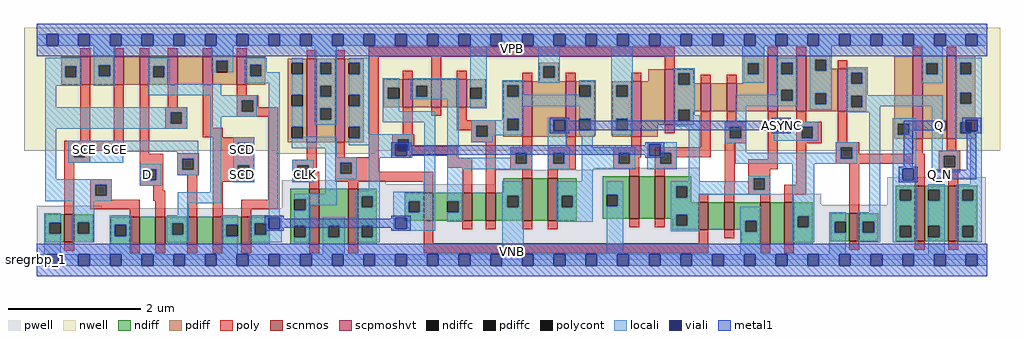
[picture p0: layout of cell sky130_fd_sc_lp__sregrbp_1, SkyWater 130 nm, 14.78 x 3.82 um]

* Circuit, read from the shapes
.subckt sky130_fd_sc_lp__sregrbp_1 ASYNC CLK D SCD SCE VGND VNB VPB VPWR Q Q_N
XM1 n1 SCE VGND VNB sky130_fd_pr__nfet_01v8 w=0.42 l=0.15
XM2 n2 n1 VGND VNB sky130_fd_pr__nfet_01v8 w=0.42 l=0.15
XM3 n3 D n2 VNB sky130_fd_pr__nfet_01v8 w=0.42 l=0.15
XM4 n4 SCE n3 VNB sky130_fd_pr__nfet_01v8 w=0.42 l=0.15
XM5 VGND SCD n4 VNB sky130_fd_pr__nfet_01v8 w=0.42 l=0.15
XM6 n5 n3 VGND VNB sky130_fd_pr__nfet_01v8 w=0.42 l=0.15
XM7 VGND CLK n6 VNB sky130_fd_pr__nfet_01v8 w=0.84 l=0.15
XM8 n7 n6 VGND VNB sky130_fd_pr__nfet_01v8 w=0.84 l=0.15
XM9 n8 n6 n5 VNB sky130_fd_pr__nfet_01v8 w=0.42 l=0.15
XM10 n9 n7 n8 VNB sky130_fd_pr__nfet_01v8 w=0.42 l=0.15
XM11 VGND n10 n9 VNB sky130_fd_pr__nfet_01v8 w=0.42 l=0.15
XM12 n11 n8 VGND VNB sky130_fd_pr__nfet_01v8 w=0.64 l=0.15
XM13 n10 ASYNC n11 VNB sky130_fd_pr__nfet_01v8 w=0.64 l=0.15
XM14 n12 n10 VGND VNB sky130_fd_pr__nfet_01v8 w=0.64 l=0.15
XM15 n13 n7 n12 VNB sky130_fd_pr__nfet_01v8 w=0.64 l=0.15
XM16 n14 n6 n13 VNB sky130_fd_pr__nfet_01v8 w=0.42 l=0.15
XM17 VGND n15 n14 VNB sky130_fd_pr__nfet_01v8 w=0.42 l=0.15
XM18 n16 n13 VGND VNB sky130_fd_pr__nfet_01v8 w=0.64 l=0.15
XM19 n15 ASYNC n16 VNB sky130_fd_pr__nfet_01v8 w=0.64 l=0.15
XM20 n17 n15 VGND VNB sky130_fd_pr__nfet_01v8 w=0.42 l=0.15
XM21 VGND n15 Q VNB sky130_fd_pr__nfet_01v8 w=0.84 l=0.15
XM22 Q_N n17 VGND VNB sky130_fd_pr__nfet_01v8 w=0.84 l=0.15
XM23 VPWR SCE n1 VPB sky130_fd_pr__pfet_01v8_hvt w=0.42 l=0.15
XM24 n18 SCE VPWR VPB sky130_fd_pr__pfet_01v8_hvt w=0.42 l=0.15
XM25 n3 D n18 VPB sky130_fd_pr__pfet_01v8_hvt w=0.42 l=0.15
XM26 n19 n1 n3 VPB sky130_fd_pr__pfet_01v8_hvt w=0.42 l=0.15
XM27 VPWR SCD n19 VPB sky130_fd_pr__pfet_01v8_hvt w=0.42 l=0.15
XM28 n5 n3 VPWR VPB sky130_fd_pr__pfet_01v8_hvt w=0.42 l=0.15
XM29 VPWR CLK n6 VPB sky130_fd_pr__pfet_01v8_hvt w=1.26 l=0.15
XM30 n7 n6 VPWR VPB sky130_fd_pr__pfet_01v8_hvt w=1.26 l=0.15
XM31 n8 n7 n5 VPB sky130_fd_pr__pfet_01v8_hvt w=0.42 l=0.15
XM32 n20 n6 n8 VPB sky130_fd_pr__pfet_01v8_hvt w=0.42 l=0.15
XM33 VPWR n10 n20 VPB sky130_fd_pr__pfet_01v8_hvt w=0.42 l=0.15
XM34 VPWR n8 n10 VPB sky130_fd_pr__pfet_01v8_hvt w=0.84 l=0.15
XM35 n10 ASYNC VPWR VPB sky130_fd_pr__pfet_01v8_hvt w=0.84 l=0.15
XM36 n21 n10 VPWR VPB sky130_fd_pr__pfet_01v8_hvt w=0.84 l=0.15
XM37 n13 n6 n21 VPB sky130_fd_pr__pfet_01v8_hvt w=0.84 l=0.15
XM38 n22 n7 n13 VPB sky130_fd_pr__pfet_01v8_hvt w=0.42 l=0.15
XM39 VPWR n15 n22 VPB sky130_fd_pr__pfet_01v8_hvt w=0.42 l=0.15
XM40 n15 n13 VPWR VPB sky130_fd_pr__pfet_01v8_hvt w=0.84 l=0.15
XM41 VPWR ASYNC n15 VPB sky130_fd_pr__pfet_01v8_hvt w=0.84 l=0.15
XM42 n17 n15 VPWR VPB sky130_fd_pr__pfet_01v8_hvt w=0.64 l=0.15
XM43 VPWR n15 Q VPB sky130_fd_pr__pfet_01v8_hvt w=1.26 l=0.15
XM44 Q_N n17 VPWR VPB sky130_fd_pr__pfet_01v8_hvt w=1.26 l=0.15
.ends

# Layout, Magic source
magic
tech sky130A
magscale 1 2
<< nwell >>
rect -38 331 2918 704
rect 725 321 1027 331
<< pwell >>
rect 1689 273 2009 279
rect 743 229 1057 241
rect 1388 229 2009 273
rect 743 201 2009 229
rect 743 167 2377 201
rect 2577 167 2875 251
rect 1 157 197 164
rect 743 157 2875 167
rect 1 49 2875 157
rect 0 0 2880 49
<< scnmos >>
rect 84 54 114 138
rect 282 47 312 131
rect 360 47 390 131
rect 456 47 486 131
rect 534 47 564 131
rect 620 47 650 131
rect 826 47 856 215
rect 944 47 974 215
rect 1172 119 1202 203
rect 1289 119 1319 203
rect 1361 119 1391 203
rect 1471 119 1501 247
rect 1549 119 1579 247
rect 1795 125 1825 253
rect 1873 125 1903 253
rect 2005 91 2035 175
rect 2083 91 2113 175
rect 2192 47 2222 175
rect 2264 47 2294 175
rect 2462 57 2492 141
rect 2660 57 2690 225
rect 2762 57 2792 225
<< scpmoshvt >>
rect 132 531 162 615
rect 234 531 264 615
rect 312 531 342 615
rect 398 531 428 615
rect 504 531 534 615
rect 606 531 636 615
rect 818 357 848 609
rect 904 357 934 609
rect 1109 463 1139 547
rect 1195 463 1225 547
rect 1273 463 1303 547
rect 1471 373 1501 541
rect 1603 373 1633 541
rect 1801 373 1831 541
rect 1903 409 1933 577
rect 2012 451 2042 535
rect 2090 451 2120 535
rect 2215 451 2245 619
rect 2301 451 2331 619
rect 2426 451 2456 579
rect 2654 367 2684 619
rect 2756 367 2786 619
<< ndiff >>
rect 27 113 84 138
rect 27 79 39 113
rect 73 79 84 113
rect 27 54 84 79
rect 114 114 171 138
rect 769 184 826 215
rect 769 150 781 184
rect 815 150 826 184
rect 114 80 125 114
rect 159 80 171 114
rect 114 54 171 80
rect 225 106 282 131
rect 225 72 237 106
rect 271 72 282 106
rect 225 47 282 72
rect 312 47 360 131
rect 390 111 456 131
rect 390 77 411 111
rect 445 77 456 111
rect 390 47 456 77
rect 486 47 534 131
rect 564 106 620 131
rect 564 72 575 106
rect 609 72 620 106
rect 564 47 620 72
rect 650 111 707 131
rect 650 77 661 111
rect 695 77 707 111
rect 650 47 707 77
rect 769 103 826 150
rect 769 69 781 103
rect 815 69 826 103
rect 769 47 826 69
rect 856 103 944 215
rect 856 69 883 103
rect 917 69 944 103
rect 856 47 944 69
rect 974 193 1031 215
rect 1414 203 1471 247
rect 974 159 985 193
rect 1019 159 1031 193
rect 974 103 1031 159
rect 1115 178 1172 203
rect 1115 144 1127 178
rect 1161 144 1172 178
rect 1115 119 1172 144
rect 1202 178 1289 203
rect 1202 144 1244 178
rect 1278 144 1289 178
rect 1202 119 1289 144
rect 1319 119 1361 203
rect 1391 194 1471 203
rect 1391 160 1426 194
rect 1460 160 1471 194
rect 1391 119 1471 160
rect 1501 119 1549 247
rect 1579 194 1636 247
rect 1579 160 1590 194
rect 1624 160 1636 194
rect 1579 119 1636 160
rect 1715 197 1795 253
rect 1715 163 1727 197
rect 1761 163 1795 197
rect 1715 125 1795 163
rect 1825 125 1873 253
rect 1903 223 1983 253
rect 1903 189 1937 223
rect 1971 189 1983 223
rect 1903 175 1983 189
rect 1903 137 2005 175
rect 1903 125 1937 137
rect 974 69 985 103
rect 1019 69 1031 103
rect 974 47 1031 69
rect 1925 103 1937 125
rect 1971 103 2005 137
rect 1925 91 2005 103
rect 2035 91 2083 175
rect 2113 119 2192 175
rect 2113 91 2147 119
rect 2135 85 2147 91
rect 2181 85 2192 119
rect 2135 47 2192 85
rect 2222 47 2264 175
rect 2294 133 2351 175
rect 2603 213 2660 225
rect 2603 179 2615 213
rect 2649 179 2660 213
rect 2294 99 2305 133
rect 2339 99 2351 133
rect 2294 47 2351 99
rect 2405 116 2462 141
rect 2405 82 2417 116
rect 2451 82 2462 116
rect 2405 57 2462 82
rect 2492 116 2549 141
rect 2492 82 2503 116
rect 2537 82 2549 116
rect 2492 57 2549 82
rect 2603 103 2660 179
rect 2603 69 2615 103
rect 2649 69 2660 103
rect 2603 57 2660 69
rect 2690 213 2762 225
rect 2690 179 2701 213
rect 2735 179 2762 213
rect 2690 103 2762 179
rect 2690 69 2701 103
rect 2735 69 2762 103
rect 2690 57 2762 69
rect 2792 213 2849 225
rect 2792 179 2803 213
rect 2837 179 2849 213
rect 2792 103 2849 179
rect 2792 69 2803 103
rect 2837 69 2849 103
rect 2792 57 2849 69
<< pdiff >>
rect 75 587 132 615
rect 75 553 87 587
rect 121 553 132 587
rect 75 531 132 553
rect 162 590 234 615
rect 162 556 189 590
rect 223 556 234 590
rect 162 531 234 556
rect 264 531 312 615
rect 342 587 398 615
rect 342 553 353 587
rect 387 553 398 587
rect 342 531 398 553
rect 428 531 504 615
rect 534 603 606 615
rect 534 569 545 603
rect 579 569 606 603
rect 534 531 606 569
rect 636 591 693 615
rect 636 557 647 591
rect 681 557 693 591
rect 636 531 693 557
rect 761 597 818 609
rect 761 563 773 597
rect 807 563 818 597
rect 761 500 818 563
rect 761 466 773 500
rect 807 466 818 500
rect 761 403 818 466
rect 761 369 773 403
rect 807 369 818 403
rect 761 357 818 369
rect 848 597 904 609
rect 848 563 859 597
rect 893 563 904 597
rect 848 528 904 563
rect 848 494 859 528
rect 893 494 904 528
rect 848 459 904 494
rect 848 425 859 459
rect 893 425 904 459
rect 848 357 904 425
rect 934 597 991 609
rect 934 563 945 597
rect 979 563 991 597
rect 934 500 991 563
rect 934 466 945 500
rect 979 466 991 500
rect 934 403 991 466
rect 934 369 945 403
rect 979 369 991 403
rect 934 357 991 369
rect 1523 586 1581 598
rect 1052 522 1109 547
rect 1052 488 1064 522
rect 1098 488 1109 522
rect 1052 463 1109 488
rect 1139 528 1195 547
rect 1139 494 1150 528
rect 1184 494 1195 528
rect 1139 463 1195 494
rect 1225 463 1273 547
rect 1303 522 1360 547
rect 1523 552 1535 586
rect 1569 552 1581 586
rect 2142 596 2215 619
rect 1523 541 1581 552
rect 1853 541 1903 577
rect 1303 488 1314 522
rect 1348 488 1360 522
rect 1303 463 1360 488
rect 1414 529 1471 541
rect 1414 495 1426 529
rect 1460 495 1471 529
rect 1414 427 1471 495
rect 1414 393 1426 427
rect 1460 393 1471 427
rect 1414 373 1471 393
rect 1501 373 1603 541
rect 1633 529 1690 541
rect 1633 495 1644 529
rect 1678 495 1690 529
rect 1633 427 1690 495
rect 1633 393 1644 427
rect 1678 393 1690 427
rect 1633 373 1690 393
rect 1744 529 1801 541
rect 1744 495 1756 529
rect 1790 495 1801 529
rect 1744 427 1801 495
rect 1744 393 1756 427
rect 1790 393 1801 427
rect 1744 373 1801 393
rect 1831 409 1903 541
rect 1933 565 1990 577
rect 1933 531 1944 565
rect 1978 535 1990 565
rect 2142 562 2154 596
rect 2188 562 2215 596
rect 2142 535 2215 562
rect 1978 531 2012 535
rect 1933 455 2012 531
rect 1933 421 1944 455
rect 1978 451 2012 455
rect 2042 451 2090 535
rect 2120 451 2215 535
rect 2245 597 2301 619
rect 2245 563 2256 597
rect 2290 563 2301 597
rect 2245 516 2301 563
rect 2245 482 2256 516
rect 2290 482 2301 516
rect 2245 451 2301 482
rect 2331 607 2404 619
rect 2331 573 2358 607
rect 2392 579 2404 607
rect 2392 573 2426 579
rect 2331 505 2426 573
rect 2331 471 2358 505
rect 2392 471 2426 505
rect 2331 451 2426 471
rect 2456 567 2513 579
rect 2456 533 2467 567
rect 2501 533 2513 567
rect 2456 497 2513 533
rect 2456 463 2467 497
rect 2501 463 2513 497
rect 2456 451 2513 463
rect 1978 421 1990 451
rect 1933 409 1990 421
rect 1831 373 1881 409
rect 2597 413 2654 619
rect 2597 379 2609 413
rect 2643 379 2654 413
rect 2597 367 2654 379
rect 2684 596 2756 619
rect 2684 562 2695 596
rect 2729 562 2756 596
rect 2684 367 2756 562
rect 2786 597 2843 619
rect 2786 563 2797 597
rect 2831 563 2843 597
rect 2786 507 2843 563
rect 2786 473 2797 507
rect 2831 473 2843 507
rect 2786 417 2843 473
rect 2786 383 2797 417
rect 2831 383 2843 417
rect 2786 367 2843 383
<< ndiffc >>
rect 39 79 73 113
rect 781 150 815 184
rect 125 80 159 114
rect 237 72 271 106
rect 411 77 445 111
rect 575 72 609 106
rect 661 77 695 111
rect 781 69 815 103
rect 883 69 917 103
rect 985 159 1019 193
rect 1127 144 1161 178
rect 1244 144 1278 178
rect 1426 160 1460 194
rect 1590 160 1624 194
rect 1727 163 1761 197
rect 1937 189 1971 223
rect 985 69 1019 103
rect 1937 103 1971 137
rect 2147 85 2181 119
rect 2615 179 2649 213
rect 2305 99 2339 133
rect 2417 82 2451 116
rect 2503 82 2537 116
rect 2615 69 2649 103
rect 2701 179 2735 213
rect 2701 69 2735 103
rect 2803 179 2837 213
rect 2803 69 2837 103
<< pdiffc >>
rect 87 553 121 587
rect 189 556 223 590
rect 353 553 387 587
rect 545 569 579 603
rect 647 557 681 591
rect 773 563 807 597
rect 773 466 807 500
rect 773 369 807 403
rect 859 563 893 597
rect 859 494 893 528
rect 859 425 893 459
rect 945 563 979 597
rect 945 466 979 500
rect 945 369 979 403
rect 1064 488 1098 522
rect 1150 494 1184 528
rect 1535 552 1569 586
rect 1314 488 1348 522
rect 1426 495 1460 529
rect 1426 393 1460 427
rect 1644 495 1678 529
rect 1644 393 1678 427
rect 1756 495 1790 529
rect 1756 393 1790 427
rect 1944 531 1978 565
rect 2154 562 2188 596
rect 1944 421 1978 455
rect 2256 563 2290 597
rect 2256 482 2290 516
rect 2358 573 2392 607
rect 2358 471 2392 505
rect 2467 533 2501 567
rect 2467 463 2501 497
rect 2609 379 2643 413
rect 2695 562 2729 596
rect 2797 563 2831 597
rect 2797 473 2831 507
rect 2797 383 2831 417
<< poly >>
rect 132 615 162 641
rect 234 615 264 641
rect 312 615 342 641
rect 398 615 428 641
rect 504 615 534 641
rect 606 615 636 641
rect 818 609 848 635
rect 904 609 934 635
rect 1006 615 1933 645
rect 2215 619 2245 645
rect 2301 619 2331 645
rect 2654 619 2684 645
rect 2756 619 2786 645
rect 132 361 162 531
rect 234 361 264 531
rect 84 345 264 361
rect 84 311 112 345
rect 146 331 264 345
rect 146 311 162 331
rect 84 295 162 311
rect 312 322 342 531
rect 398 463 428 531
rect 390 447 456 463
rect 390 413 406 447
rect 440 413 456 447
rect 390 397 456 413
rect 504 401 534 531
rect 606 499 636 531
rect 606 483 672 499
rect 606 449 622 483
rect 656 463 672 483
rect 656 449 732 463
rect 606 433 732 449
rect 504 371 564 401
rect 534 355 660 371
rect 84 138 114 295
rect 312 275 384 322
rect 162 228 228 244
rect 162 194 178 228
rect 212 194 228 228
rect 312 241 328 275
rect 362 241 384 275
rect 426 307 492 323
rect 426 273 442 307
rect 476 273 492 307
rect 426 257 492 273
rect 534 321 610 355
rect 644 321 660 355
rect 534 287 660 321
rect 312 225 384 241
rect 162 183 228 194
rect 354 209 384 225
rect 162 153 312 183
rect 354 179 390 209
rect 282 131 312 153
rect 360 131 390 179
rect 456 131 486 257
rect 534 253 610 287
rect 644 253 660 287
rect 534 237 660 253
rect 534 131 564 237
rect 702 183 732 433
rect 818 303 848 357
rect 774 287 848 303
rect 774 253 790 287
rect 824 267 848 287
rect 904 311 934 357
rect 1006 311 1036 615
rect 1109 547 1139 573
rect 1195 547 1225 615
rect 1273 547 1303 573
rect 1471 541 1501 567
rect 1903 577 1933 615
rect 1603 541 1633 567
rect 1801 541 1831 567
rect 1109 381 1139 463
rect 1195 437 1225 463
rect 1273 423 1303 463
rect 1273 407 1391 423
rect 1273 393 1332 407
rect 1078 365 1144 381
rect 1078 331 1094 365
rect 1128 345 1144 365
rect 1316 373 1332 393
rect 1366 373 1391 407
rect 2012 535 2042 561
rect 2090 535 2120 561
rect 2426 579 2456 605
rect 1903 383 1933 409
rect 1316 357 1391 373
rect 1128 331 1274 345
rect 1078 315 1274 331
rect 904 295 1036 311
rect 824 253 856 267
rect 774 237 856 253
rect 904 261 920 295
rect 954 267 1036 295
rect 1244 309 1274 315
rect 1244 279 1319 309
rect 954 261 1202 267
rect 904 237 1202 261
rect 826 215 856 237
rect 944 215 974 237
rect 620 153 732 183
rect 620 131 650 153
rect 84 28 114 54
rect 1172 203 1202 237
rect 1289 203 1319 279
rect 1361 203 1391 357
rect 1471 341 1501 373
rect 1603 341 1633 373
rect 1801 341 1831 373
rect 2012 341 2042 451
rect 2090 419 2120 451
rect 1435 325 1501 341
rect 1435 291 1451 325
rect 1485 291 1501 325
rect 1435 275 1501 291
rect 1471 247 1501 275
rect 1549 325 1633 341
rect 1549 291 1565 325
rect 1599 291 1633 325
rect 1549 275 1633 291
rect 1747 325 1831 341
rect 1747 291 1763 325
rect 1797 311 1831 325
rect 1873 325 2042 341
rect 1797 291 1825 311
rect 1747 275 1825 291
rect 1549 247 1579 275
rect 1795 253 1825 275
rect 1873 291 1889 325
rect 1923 311 2042 325
rect 2084 403 2150 419
rect 2084 369 2100 403
rect 2134 369 2150 403
rect 2084 353 2150 369
rect 1923 291 1939 311
rect 1873 275 1939 291
rect 1873 253 1903 275
rect 2084 227 2114 353
rect 2215 305 2245 451
rect 2005 175 2035 201
rect 2083 197 2114 227
rect 2156 275 2245 305
rect 2301 419 2331 451
rect 2301 403 2378 419
rect 2301 369 2317 403
rect 2351 369 2378 403
rect 2301 353 2378 369
rect 2426 357 2456 451
rect 2156 247 2222 275
rect 2156 213 2172 247
rect 2206 213 2222 247
rect 2301 227 2331 353
rect 2420 341 2492 357
rect 2420 307 2436 341
rect 2470 321 2492 341
rect 2654 321 2684 367
rect 2756 331 2786 367
rect 2470 307 2690 321
rect 2420 291 2690 307
rect 2156 197 2222 213
rect 2083 175 2113 197
rect 2192 175 2222 197
rect 2264 197 2331 227
rect 2264 175 2294 197
rect 1172 51 1202 119
rect 1289 93 1319 119
rect 1361 93 1391 119
rect 1471 93 1501 119
rect 1549 93 1579 119
rect 1795 99 1825 125
rect 1873 99 1903 125
rect 2005 51 2035 91
rect 2083 65 2113 91
rect 282 21 312 47
rect 360 21 390 47
rect 456 21 486 47
rect 534 21 564 47
rect 620 21 650 47
rect 826 21 856 47
rect 944 21 974 47
rect 1172 21 2035 51
rect 2462 141 2492 291
rect 2660 225 2690 291
rect 2732 315 2798 331
rect 2732 281 2748 315
rect 2782 281 2798 315
rect 2732 265 2798 281
rect 2762 225 2792 265
rect 2192 21 2222 47
rect 2264 21 2294 47
rect 2462 31 2492 57
rect 2660 31 2690 57
rect 2762 31 2792 57
<< polycont >>
rect 112 311 146 345
rect 406 413 440 447
rect 622 449 656 483
rect 178 194 212 228
rect 328 241 362 275
rect 442 273 476 307
rect 610 321 644 355
rect 610 253 644 287
rect 790 253 824 287
rect 1094 331 1128 365
rect 1332 373 1366 407
rect 920 261 954 295
rect 1451 291 1485 325
rect 1565 291 1599 325
rect 1763 291 1797 325
rect 1889 291 1923 325
rect 2100 369 2134 403
rect 2317 369 2351 403
rect 2172 213 2206 247
rect 2436 307 2470 341
rect 2748 281 2782 315
<< locali >>
rect 0 649 31 683
rect 65 649 127 683
rect 161 649 223 683
rect 257 649 319 683
rect 353 649 415 683
rect 449 649 511 683
rect 545 649 607 683
rect 641 649 703 683
rect 737 649 799 683
rect 833 649 895 683
rect 929 649 991 683
rect 1025 649 1087 683
rect 1121 649 1183 683
rect 1217 649 1279 683
rect 1313 649 1375 683
rect 1409 649 1471 683
rect 1505 649 1567 683
rect 1601 649 1663 683
rect 1697 649 1759 683
rect 1793 649 1855 683
rect 1889 649 1951 683
rect 1985 649 2047 683
rect 2081 649 2143 683
rect 2177 649 2239 683
rect 2273 649 2335 683
rect 2369 649 2431 683
rect 2465 649 2527 683
rect 2561 649 2623 683
rect 2657 649 2719 683
rect 2753 649 2815 683
rect 2849 649 2880 683
rect 26 587 137 613
rect 26 553 87 587
rect 121 553 137 587
rect 26 527 137 553
rect 173 590 239 649
rect 173 556 189 590
rect 223 556 239 590
rect 173 527 239 556
rect 337 587 403 613
rect 337 553 353 587
rect 387 553 403 587
rect 529 603 595 649
rect 529 569 545 603
rect 579 569 595 603
rect 631 591 697 613
rect 337 533 403 553
rect 631 557 647 591
rect 681 569 697 591
rect 773 597 807 613
rect 681 557 737 569
rect 631 535 737 557
rect 26 463 60 527
rect 337 499 560 533
rect 526 483 667 499
rect 26 447 456 463
rect 26 413 406 447
rect 440 413 456 447
rect 26 397 456 413
rect 526 449 622 483
rect 656 449 667 483
rect 526 433 667 449
rect 26 244 60 397
rect 96 345 490 361
rect 96 311 112 345
rect 146 327 490 345
rect 146 311 263 327
rect 96 295 263 311
rect 426 307 490 327
rect 312 275 378 291
rect 26 228 228 244
rect 26 194 178 228
rect 212 194 228 228
rect 312 241 328 275
rect 362 241 378 275
rect 426 273 442 307
rect 476 273 490 307
rect 426 257 490 273
rect 312 225 378 241
rect 526 205 560 433
rect 596 355 660 371
rect 596 321 610 355
rect 644 321 660 355
rect 596 287 660 321
rect 596 253 610 287
rect 644 253 660 287
rect 596 236 660 253
rect 26 178 228 194
rect 23 113 73 142
rect 23 79 39 113
rect 23 17 73 79
rect 109 114 175 178
rect 427 171 560 205
rect 427 135 461 171
rect 703 135 737 535
rect 773 500 807 563
rect 773 403 807 466
rect 843 597 909 649
rect 843 563 859 597
rect 893 563 909 597
rect 843 528 909 563
rect 843 494 859 528
rect 893 494 909 528
rect 843 459 909 494
rect 843 425 859 459
rect 893 425 909 459
rect 843 409 909 425
rect 945 597 1006 613
rect 979 563 1006 597
rect 945 500 1006 563
rect 979 466 1006 500
rect 945 403 1006 466
rect 1048 522 1098 551
rect 1048 488 1064 522
rect 1048 451 1098 488
rect 1134 528 1278 551
rect 1134 494 1150 528
rect 1184 494 1278 528
rect 1134 487 1278 494
rect 1048 417 1208 451
rect 807 369 909 373
rect 773 339 909 369
rect 979 381 1006 403
rect 979 369 1138 381
rect 945 365 1138 369
rect 945 350 1094 365
rect 945 347 1087 350
rect 875 311 909 339
rect 1006 316 1087 347
rect 1128 331 1138 365
rect 1121 316 1138 331
rect 774 287 839 303
rect 774 253 790 287
rect 824 253 839 287
rect 774 236 839 253
rect 875 295 970 311
rect 875 261 920 295
rect 954 261 970 295
rect 875 245 970 261
rect 1006 310 1138 316
rect 875 200 909 245
rect 1006 209 1040 310
rect 781 184 909 200
rect 815 166 909 184
rect 969 193 1040 209
rect 1174 207 1208 417
rect 815 150 831 166
rect 109 80 125 114
rect 159 80 175 114
rect 109 53 175 80
rect 221 106 287 135
rect 221 72 237 106
rect 271 72 287 106
rect 221 17 287 72
rect 395 111 461 135
rect 395 77 411 111
rect 445 77 461 111
rect 395 53 461 77
rect 559 106 609 135
rect 559 72 575 106
rect 559 17 609 72
rect 645 128 743 135
rect 645 111 703 128
rect 645 77 661 111
rect 695 94 703 111
rect 737 94 743 128
rect 695 77 743 94
rect 645 53 743 77
rect 781 103 831 150
rect 969 159 985 193
rect 1019 159 1040 193
rect 815 69 831 103
rect 781 53 831 69
rect 867 103 933 130
rect 867 69 883 103
rect 917 69 933 103
rect 867 17 933 69
rect 969 103 1040 159
rect 969 69 985 103
rect 1019 69 1040 103
rect 1081 178 1208 207
rect 1081 144 1127 178
rect 1161 144 1208 178
rect 1081 128 1208 144
rect 1081 94 1087 128
rect 1121 94 1208 128
rect 1244 309 1278 487
rect 1314 522 1364 649
rect 1519 586 1585 649
rect 1519 552 1535 586
rect 1569 552 1585 586
rect 1348 488 1364 522
rect 1314 459 1364 488
rect 1410 529 1476 545
rect 1519 536 1585 552
rect 1410 495 1426 529
rect 1460 500 1476 529
rect 1644 529 1694 545
rect 1460 495 1644 500
rect 1678 495 1694 529
rect 1410 466 1694 495
rect 1410 427 1476 466
rect 1410 423 1426 427
rect 1316 407 1426 423
rect 1316 373 1332 407
rect 1366 393 1426 407
rect 1460 393 1476 427
rect 1366 377 1476 393
rect 1549 424 1607 430
rect 1549 390 1567 424
rect 1601 390 1607 424
rect 1366 373 1382 377
rect 1316 357 1382 373
rect 1549 341 1607 390
rect 1644 427 1694 466
rect 1678 393 1694 427
rect 1644 377 1694 393
rect 1740 529 1806 649
rect 2138 596 2204 649
rect 1740 495 1756 529
rect 1790 495 1806 529
rect 1740 427 1806 495
rect 1740 393 1756 427
rect 1790 393 1806 427
rect 1928 565 1994 581
rect 1928 531 1944 565
rect 1978 531 1994 565
rect 2138 562 2154 596
rect 2188 562 2204 596
rect 2138 536 2204 562
rect 2240 597 2306 613
rect 2240 563 2256 597
rect 2290 563 2306 597
rect 1928 455 1994 531
rect 2240 516 2306 563
rect 2240 500 2256 516
rect 1928 421 1944 455
rect 1978 439 1994 455
rect 2116 482 2256 500
rect 2290 482 2306 516
rect 2116 466 2306 482
rect 2342 607 2408 649
rect 2342 573 2358 607
rect 2392 573 2408 607
rect 2679 596 2745 649
rect 2342 505 2408 573
rect 2342 471 2358 505
rect 2392 471 2408 505
rect 1978 421 2009 439
rect 1928 405 2009 421
rect 2116 419 2150 466
rect 2342 455 2408 471
rect 2451 567 2517 583
rect 2451 533 2467 567
rect 2501 533 2517 567
rect 2679 562 2695 596
rect 2729 562 2745 596
rect 2679 535 2745 562
rect 2781 597 2862 613
rect 2781 563 2797 597
rect 2831 563 2862 597
rect 2451 499 2517 533
rect 2781 507 2862 563
rect 2451 497 2745 499
rect 2451 463 2467 497
rect 2501 465 2745 497
rect 2501 463 2556 465
rect 2451 447 2556 463
rect 1740 377 1806 393
rect 1651 341 1685 377
rect 1849 350 1939 356
rect 1435 325 1501 341
rect 1435 309 1451 325
rect 1244 291 1451 309
rect 1485 291 1501 325
rect 1244 275 1501 291
rect 1549 325 1615 341
rect 1549 291 1565 325
rect 1599 291 1615 325
rect 1549 275 1615 291
rect 1651 325 1813 341
rect 1651 291 1763 325
rect 1797 291 1813 325
rect 1651 275 1813 291
rect 1849 316 1855 350
rect 1889 325 1939 350
rect 1849 291 1889 316
rect 1923 291 1939 325
rect 1849 275 1939 291
rect 1244 178 1294 275
rect 1651 239 1685 275
rect 1975 239 2009 405
rect 2084 403 2150 419
rect 2084 369 2100 403
rect 2134 369 2150 403
rect 2084 353 2150 369
rect 2233 424 2279 430
rect 2233 390 2239 424
rect 2273 419 2279 424
rect 2273 403 2367 419
rect 2273 390 2317 403
rect 2233 369 2317 390
rect 2351 369 2367 403
rect 2233 361 2367 369
rect 2116 325 2150 353
rect 2420 341 2486 357
rect 2420 325 2436 341
rect 2116 307 2436 325
rect 2470 307 2486 341
rect 2116 291 2486 307
rect 2156 247 2222 255
rect 2156 239 2172 247
rect 1278 144 1294 178
rect 1244 115 1294 144
rect 1410 194 1476 239
rect 1410 160 1426 194
rect 1460 160 1476 194
rect 1081 88 1208 94
rect 969 53 1040 69
rect 1410 17 1476 160
rect 1574 194 1685 239
rect 1574 160 1590 194
rect 1624 160 1685 194
rect 1574 115 1685 160
rect 1727 197 1777 239
rect 1761 163 1777 197
rect 1727 17 1777 163
rect 1921 223 2172 239
rect 1921 189 1937 223
rect 1971 213 2172 223
rect 2206 213 2222 247
rect 1971 197 2222 213
rect 1971 189 2009 197
rect 1921 137 2009 189
rect 1921 103 1937 137
rect 1971 103 2009 137
rect 1921 87 2009 103
rect 2131 119 2197 161
rect 2131 85 2147 119
rect 2181 85 2197 119
rect 2131 17 2197 85
rect 2289 133 2355 291
rect 2522 145 2556 447
rect 2289 99 2305 133
rect 2339 99 2355 133
rect 2289 53 2355 99
rect 2401 116 2451 145
rect 2401 82 2417 116
rect 2401 17 2451 82
rect 2487 116 2556 145
rect 2487 82 2503 116
rect 2537 82 2556 116
rect 2487 53 2556 82
rect 2593 413 2665 429
rect 2593 379 2609 413
rect 2643 379 2665 413
rect 2593 276 2665 379
rect 2593 242 2623 276
rect 2657 242 2665 276
rect 2711 331 2745 465
rect 2781 473 2797 507
rect 2831 473 2862 507
rect 2781 424 2862 473
rect 2781 417 2815 424
rect 2781 383 2797 417
rect 2849 390 2862 424
rect 2831 383 2862 390
rect 2781 367 2862 383
rect 2711 315 2792 331
rect 2711 281 2748 315
rect 2782 281 2792 315
rect 2711 265 2792 281
rect 2593 213 2665 242
rect 2828 229 2862 367
rect 2593 179 2615 213
rect 2649 179 2665 213
rect 2593 103 2665 179
rect 2593 69 2615 103
rect 2649 69 2665 103
rect 2593 53 2665 69
rect 2701 213 2751 229
rect 2735 179 2751 213
rect 2701 103 2751 179
rect 2735 69 2751 103
rect 2701 17 2751 69
rect 2787 213 2862 229
rect 2787 179 2803 213
rect 2837 179 2862 213
rect 2787 103 2862 179
rect 2787 69 2803 103
rect 2837 69 2862 103
rect 2787 53 2862 69
rect 0 -17 31 17
rect 65 -17 127 17
rect 161 -17 223 17
rect 257 -17 319 17
rect 353 -17 415 17
rect 449 -17 511 17
rect 545 -17 607 17
rect 641 -17 703 17
rect 737 -17 799 17
rect 833 -17 895 17
rect 929 -17 991 17
rect 1025 -17 1087 17
rect 1121 -17 1183 17
rect 1217 -17 1279 17
rect 1313 -17 1375 17
rect 1409 -17 1471 17
rect 1505 -17 1567 17
rect 1601 -17 1663 17
rect 1697 -17 1759 17
rect 1793 -17 1855 17
rect 1889 -17 1951 17
rect 1985 -17 2047 17
rect 2081 -17 2143 17
rect 2177 -17 2239 17
rect 2273 -17 2335 17
rect 2369 -17 2431 17
rect 2465 -17 2527 17
rect 2561 -17 2623 17
rect 2657 -17 2719 17
rect 2753 -17 2815 17
rect 2849 -17 2880 17
<< viali >>
rect 31 649 65 683
rect 127 649 161 683
rect 223 649 257 683
rect 319 649 353 683
rect 415 649 449 683
rect 511 649 545 683
rect 607 649 641 683
rect 703 649 737 683
rect 799 649 833 683
rect 895 649 929 683
rect 991 649 1025 683
rect 1087 649 1121 683
rect 1183 649 1217 683
rect 1279 649 1313 683
rect 1375 649 1409 683
rect 1471 649 1505 683
rect 1567 649 1601 683
rect 1663 649 1697 683
rect 1759 649 1793 683
rect 1855 649 1889 683
rect 1951 649 1985 683
rect 2047 649 2081 683
rect 2143 649 2177 683
rect 2239 649 2273 683
rect 2335 649 2369 683
rect 2431 649 2465 683
rect 2527 649 2561 683
rect 2623 649 2657 683
rect 2719 649 2753 683
rect 2815 649 2849 683
rect 1087 331 1094 350
rect 1094 331 1121 350
rect 1087 316 1121 331
rect 703 94 737 128
rect 1087 94 1121 128
rect 1567 390 1601 424
rect 1855 316 1889 350
rect 2239 390 2273 424
rect 2623 242 2657 276
rect 2815 417 2849 424
rect 2815 390 2831 417
rect 2831 390 2849 417
rect 31 -17 65 17
rect 127 -17 161 17
rect 223 -17 257 17
rect 319 -17 353 17
rect 415 -17 449 17
rect 511 -17 545 17
rect 607 -17 641 17
rect 703 -17 737 17
rect 799 -17 833 17
rect 895 -17 929 17
rect 991 -17 1025 17
rect 1087 -17 1121 17
rect 1183 -17 1217 17
rect 1279 -17 1313 17
rect 1375 -17 1409 17
rect 1471 -17 1505 17
rect 1567 -17 1601 17
rect 1663 -17 1697 17
rect 1759 -17 1793 17
rect 1855 -17 1889 17
rect 1951 -17 1985 17
rect 2047 -17 2081 17
rect 2143 -17 2177 17
rect 2239 -17 2273 17
rect 2335 -17 2369 17
rect 2431 -17 2465 17
rect 2527 -17 2561 17
rect 2623 -17 2657 17
rect 2719 -17 2753 17
rect 2815 -17 2849 17
<< metal1 >>
rect 0 683 2880 715
rect 0 649 31 683
rect 65 649 127 683
rect 161 649 223 683
rect 257 649 319 683
rect 353 649 415 683
rect 449 649 511 683
rect 545 649 607 683
rect 641 649 703 683
rect 737 649 799 683
rect 833 649 895 683
rect 929 649 991 683
rect 1025 649 1087 683
rect 1121 649 1183 683
rect 1217 649 1279 683
rect 1313 649 1375 683
rect 1409 649 1471 683
rect 1505 649 1567 683
rect 1601 649 1663 683
rect 1697 649 1759 683
rect 1793 649 1855 683
rect 1889 649 1951 683
rect 1985 649 2047 683
rect 2081 649 2143 683
rect 2177 649 2239 683
rect 2273 649 2335 683
rect 2369 649 2431 683
rect 2465 649 2527 683
rect 2561 649 2623 683
rect 2657 649 2719 683
rect 2753 649 2815 683
rect 2849 649 2880 683
rect 0 617 2880 649
rect 1555 424 1613 430
rect 1555 390 1567 424
rect 1601 421 1613 424
rect 2227 424 2285 430
rect 2227 421 2239 424
rect 1601 393 2239 421
rect 1601 390 1613 393
rect 1555 384 1613 390
rect 2227 390 2239 393
rect 2273 390 2285 424
rect 2803 424 2861 430
rect 2227 384 2285 390
rect 2626 393 2753 421
rect 1075 350 1133 356
rect 1075 316 1087 350
rect 1121 347 1133 350
rect 1843 350 1901 356
rect 1843 347 1855 350
rect 1121 319 1855 347
rect 1121 316 1133 319
rect 1075 310 1133 316
rect 1843 316 1855 319
rect 1889 316 1901 350
rect 1843 310 1901 316
rect 2626 282 2654 393
rect 2803 390 2815 424
rect 2849 390 2861 424
rect 2803 384 2861 390
rect 2611 276 2669 282
rect 2611 242 2623 276
rect 2657 242 2669 276
rect 2818 273 2846 384
rect 2719 245 2846 273
rect 2611 236 2669 242
rect 691 128 749 134
rect 691 94 703 128
rect 737 125 749 128
rect 1075 128 1133 134
rect 1075 125 1087 128
rect 737 97 1087 125
rect 737 94 749 97
rect 691 88 749 94
rect 1075 94 1087 97
rect 1121 94 1133 128
rect 1075 88 1133 94
rect 0 17 2880 49
rect 0 -17 31 17
rect 65 -17 127 17
rect 161 -17 223 17
rect 257 -17 319 17
rect 353 -17 415 17
rect 449 -17 511 17
rect 545 -17 607 17
rect 641 -17 703 17
rect 737 -17 799 17
rect 833 -17 895 17
rect 929 -17 991 17
rect 1025 -17 1087 17
rect 1121 -17 1183 17
rect 1217 -17 1279 17
rect 1313 -17 1375 17
rect 1409 -17 1471 17
rect 1505 -17 1567 17
rect 1601 -17 1663 17
rect 1697 -17 1759 17
rect 1793 -17 1855 17
rect 1889 -17 1951 17
rect 1985 -17 2047 17
rect 2081 -17 2143 17
rect 2177 -17 2239 17
rect 2273 -17 2335 17
rect 2369 -17 2431 17
rect 2465 -17 2527 17
rect 2561 -17 2623 17
rect 2657 -17 2719 17
rect 2753 -17 2815 17
rect 2849 -17 2880 17
rect 0 -49 2880 -17
<< labels >>
flabel pwell s 0 0 2880 49 0 FreeSans 200 0 0 0 VNB
port 7 nsew ground bidirectional
flabel nwell s 0 617 2880 666 0 FreeSans 200 0 0 0 VPB
port 8 nsew power bidirectional
rlabel comment s 0 0 0 0 4 sregrbp_1
flabel metal1 s 2239 390 2273 424 0 FreeSans 200 0 0 0 ASYNC
port 1 nsew signal input
flabel metal1 s 2719 393 2753 421 0 FreeSans 200 0 0 0 Q
port 10 nsew signal output
flabel metal1 s 2719 245 2753 273 0 FreeSans 200 0 0 0 Q_N
port 11 nsew signal output
flabel metal1 s 0 617 2880 666 0 FreeSans 340 0 0 0 VPWR
port 9 nsew power bidirectional
flabel metal1 s 0 0 2880 49 0 FreeSans 340 0 0 0 VGND
port 6 nsew ground bidirectional
flabel locali s 127 316 161 350 0 FreeSans 340 0 0 0 SCE
port 5 nsew signal input
flabel locali s 223 316 257 350 0 FreeSans 340 0 0 0 SCE
port 5 nsew signal input
flabel locali s 319 242 353 276 0 FreeSans 340 0 0 0 D
port 3 nsew signal input
flabel locali s 799 242 833 276 0 FreeSans 340 0 0 0 CLK
port 2 nsew clock input
flabel locali s 607 242 641 276 0 FreeSans 340 0 0 0 SCD
port 4 nsew signal input
flabel locali s 607 316 641 350 0 FreeSans 340 0 0 0 SCD
port 4 nsew signal input
<< properties >>
string LEFsite unit
string LEFclass CORE
string FIXED_BBOX 0 0 2880 666
string GDS_FILE $PDKPATH/libs.ref/sky130_fd_sc_lp/gds/sky130_fd_sc_lp.gds
string LEFsymmetry X Y R90
string GDS_END 2758424
string GDS_START 2737610
<< end >>
